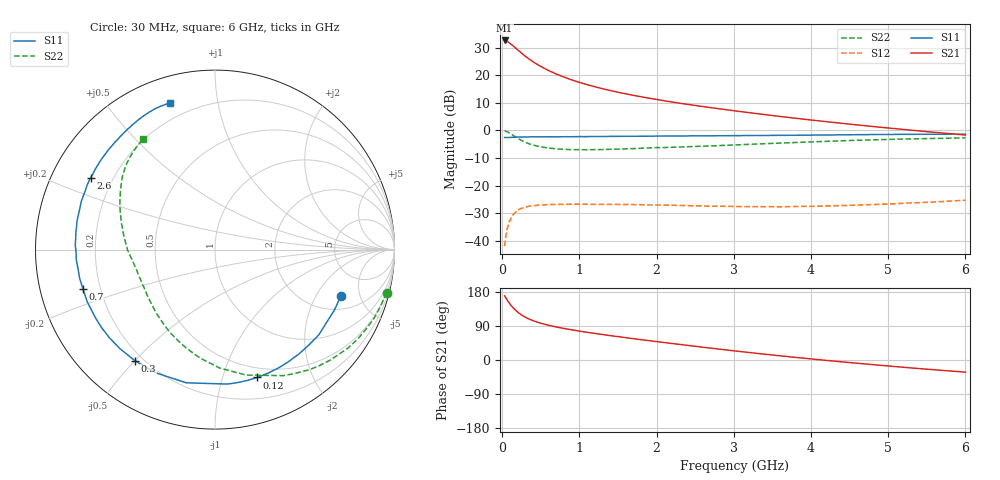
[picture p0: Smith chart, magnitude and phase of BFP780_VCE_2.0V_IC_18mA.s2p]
! Infineon Technologies  Discrete & RF Semiconductors
! BFP780
! VCE =  2.0 V,  IC =  18 mA
! Common Emitter S-Parameters:  Jul 2015
# GHz  S  MA  R  50
!  f  S11  S21  S12  S22
! GHz  MAG  ANG  MAG  ANG  MAG  ANG  MAG  ANG
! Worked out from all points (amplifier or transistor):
!   75 points, 30 MHz to 6 GHz, reference 50 ohm
!   highest |S21| = 32.7 dB at 30 MHz (marker M1)
!   |S21| within 3 dB of that: start of sweep to 182.5 MHz
!   unconditionally stable (mu >= 1): 2.447 GHz to end of sweep
!   at 150 MHz: K = 0.06, MSG = 30.4 dB, |S12| = -30.3 dB
!   at 2.3 GHz: K = 0.95, MSG = 18.6 dB, |S12| = -27.3 dB
!   at 6 GHz: K = 1.57, MAG = 7.4 dB, |S12| = -25.4 dB
!   S11 on the Smith chart (normalised r, x): 30 MHz: 2.82, -3.31; 120 MHz: 0.40, -1.30; 300 MHz: 0.17, -0.50; 700 MHz: 0.13, -0.14; 2.6 GHz: 0.12, +0.27; 6 GHz: 0.12, +0.73
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0.03  0.747 -20.3  43.3 169.6  0.0079 79.8  0.9853 -14.1
0.05  0.7423 -33.2  42.44 162.5  0.0128 75.6  0.9656 -23.3
0.08  0.7463 -51.2  40.18 153.2  0.0198 66.0  0.9233 -36.2
0.11  0.749 -67.0  37.33 144.9  0.0248 57.5  0.8687 -48.2
0.12  0.7501 -71.7  36.35 142.5  0.0269 54.7  0.8516 -51.7
0.15  0.7523 -84.8  33.57 135.6  0.0305 48.8  0.7982 -61.6
0.2  0.7592 -102.2  29.18 126.2  0.0358 39.7  0.7202 -76.1
0.25  0.7611 -115.3  25.43 118.7  0.0386 34.3  0.6599 -87.8
0.3  0.7632 -125.7  22.32 112.7  0.0403 29.0  0.6099 -97.9
0.35  0.7649 -133.9  19.79 107.8  0.0422 25.0  0.5721 -106.1
0.45  0.7671 -145.7  16 100.1  0.0438 19.7  0.5226 -119.3
0.6  0.769 -157.7  12.29 91.7  0.045 14.1  0.4805 -133.4
0.7  0.7678 -163.6  10.62 87.1  0.0453 11.7  0.4636 -140.5
0.9  0.7709 -172.4  8.309 79.6  0.0456 8.0  0.4486 -151.2
1.1  0.7744 -179.1  6.804 73.1  0.0456 5.6  0.4469 -159.1
1.5  0.7815 170.8  4.96 61.7  0.0453 2.4  0.4582 -169.9
2.1  0.7922 158.7  3.466 46.0  0.0439 -0.8  0.4901 178.7
2.6  0.8002 149.9  2.727 33.7  0.0427 -1.4  0.5186 169.9
3.1  0.8079 141.8  2.197 22.0  0.0414 -0.3  0.5531 161.5
4.1  0.8265 127.2  1.499 0.9  0.0422 3.8  0.6277 146.8
5.1  0.8494 115.5  1.077 -17.5  0.0466 7.1  0.6934 134.1
6  0.8551 107.1  0.828 -32.1  0.0539 6.8  0.7349 122.9
